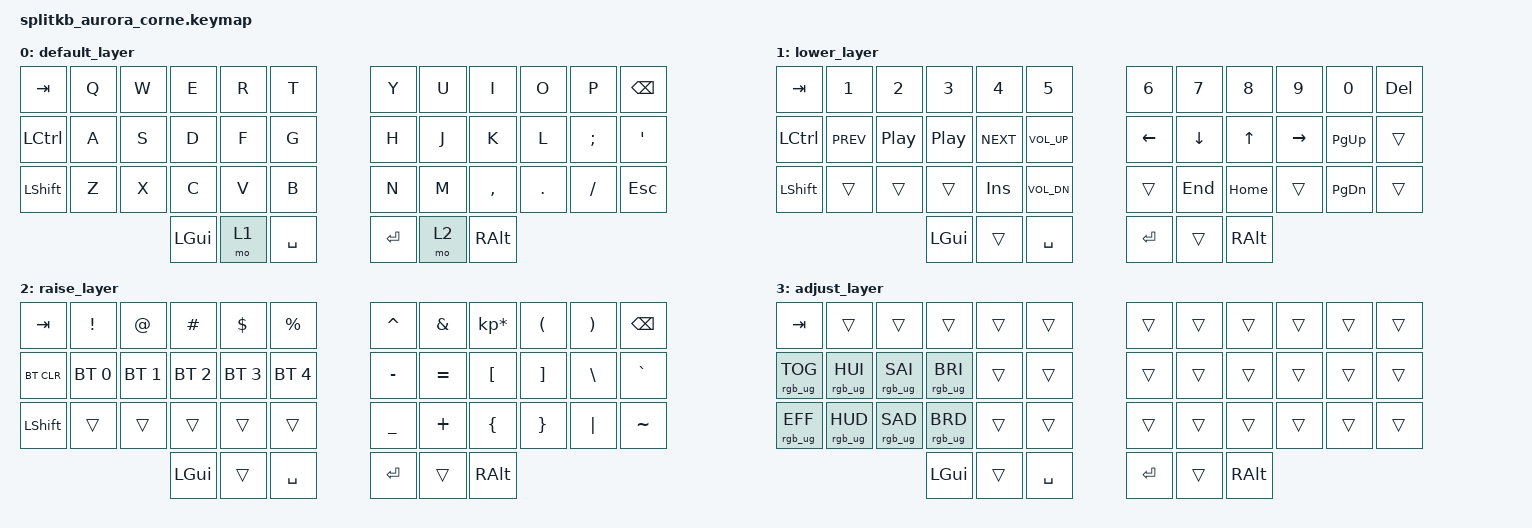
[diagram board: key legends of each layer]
#include <../boards/shields/splitkb_aurora_corne/boards/nice_nano_v2.overlay>
#include <dt-bindings/zmk/rgb.h>
/*
 * Copyright (c) 2020 The ZMK Contributors
 *
 * SPDX-License-Identifier: MIT
 */

#include <behaviors.dtsi>
#include <dt-bindings/zmk/keys.h>
#include <dt-bindings/zmk/bt.h>
#include <dt-bindings/zmk/ext_power.h>

&led_strip {
    chain-length = <21>;
};

&nice_view_spi {
    cs-gpios = <&pro_micro 0 GPIO_ACTIVE_HIGH>;
};

/{conditional_layers {
    compatible = "zmk,conditional-layers";
    tri_layer {
            if-layers = <1 2>;
            then-layer = <3>;
        };
    };
        keymap {
                compatible = "zmk,keymap";

                default_layer {
// -----------------------------------------------------------------------------------------
// |  TAB |  Q  |  W  |  E  |  R  |  T  |   |  Y  |  U   |  I  |  O  |  P  | BKSP |
// | CTRL |  A  |  S  |  D  |  F  |  G  |   |  H  |  J   |  K  |  L  |  ;  |  '   |
// | SHFT |  Z  |  X  |  C  |  V  |  B  |   |  N  |  M   |  ,  |  .  |  /  | ESC  |
//                    | GUI | LWR | SPC |   | ENT | RSE  | ALT |
                        bindings = <
   &kp TAB   &kp Q &kp W &kp E &kp R &kp T   &kp Y &kp U  &kp I     &kp O   &kp P    &kp BSPC
   &kp LCTRL &kp A &kp S &kp D &kp F &kp G   &kp H &kp J  &kp K     &kp L   &kp SEMI &kp SQT
   &kp LSHFT &kp Z &kp X &kp C &kp V &kp B   &kp N &kp M  &kp COMMA &kp DOT &kp FSLH &kp ESC
                  &kp LGUI &mo 1 &kp SPACE   &kp RET &mo 2 &kp RALT
                        >;
                };
                lower_layer {
// -----------------------------------------------------------------------------------------
// |  TAB |  1  |  2  |  3  |  4  |  5  |   |  6  |  7  |  8  |  9  |  0  | DEL |
// | CTRL | C_PREV | C_PP  | C_PP | C_NEXT | C_VOL_UP  | LFT | DWN |  UP | RGT |  PG_UP   |      |
// | SHFT |     |     |     |  INS  |   C_VOL_DN |   |     |     |     |     |  PG_DN   |      |
//                    | GUI |     | SPC |   | ENT |     | ALT |
                        bindings = <
   &kp TAB   &kp N1      &kp N2   &kp N3   &kp N4     &kp N5        &kp N6   &kp N7   &kp N8     &kp N9    &kp N0     &kp DEL
   &kp LCTRL &kp C_PREV  &kp C_PP &kp C_PP &kp C_NEXT &kp C_VOL_UP  &kp LEFT &kp DOWN &kp UP     &kp RIGHT &kp PG_UP  &trans
   &kp LSHFT &trans      &trans   &trans   &kp INS    &kp C_VOL_DN        &trans   &kp END  &kp HOME   &trans    &kp PG_DN  &trans
                          	        &kp LGUI     &trans       &kp SPACE      &kp RET  &trans   &kp RALT
                        >;
                };

                raise_layer {
// -----------------------------------------------------------------------------------------
// |  TAB |  !  |  @  |  #  |  $  |  %  |  |  ^  |  &  |  *  |  (  |  )  | BKSP |
// | BTCLR| BT1 | BT2 | BT3 | BT4 | BT5 |  |   |  -  |  =  |  [  |  ]  |  \  |  `   |
// | SHFT |     |     |     |     |     |  |  _  |  +  |  {  |  }  | "|" |  ~   |
//                    | GUI |     | SPC |  | ENT |     | ALT |
                        bindings = <
   &kp  TAB  &kp EXCL &kp AT &kp HASH &kp DLLR &kp PRCNT   &kp CARET &kp AMPS  &kp KP_MULTIPLY &kp LPAR &kp RPAR &kp BSPC
   &bt BT_CLR &bt BT_SEL 0 &bt BT_SEL 1 &bt BT_SEL 2 &bt BT_SEL 3 &bt BT_SEL 4       &kp MINUS &kp EQUAL &kp LBKT        &kp RBKT &kp BSLH &kp GRAVE
   &kp LSHFT &trans &trans &trans &trans &trans      &kp UNDER &kp PLUS  &kp LBRC        &kp RBRC &kp PIPE &kp TILDE
                    	     &kp LGUI &trans   &kp SPACE   &kp RET   &trans    &kp RALT
                        >;
                };

                adjust_layer {
// -----------------------------------------------------------------------------------------
// |  TAB |         |           |        |         |     |   |     |     |     |     |     |      |
// | RGB_TOG | RGB_HUI | RGB_SAI  | RGB_BRI |  |     |   |  -  |  =  |  [  |  ]  |  \  |  `   |
// | RGB_EFF | RGB_HUD | RGB_SAD  | RGB_BRD |  |     |   |  _  |  +  |  {  |  }  | "|" |  ~   |
//                    | GUI |     | SPC |  | ENT |     | ALT |
                        bindings = <
   &kp  TAB  &trans &trans &trans &trans &trans   &trans &trans  &trans &trans &trans &trans
   &rgb_ug RGB_TOG &rgb_ug RGB_HUI  &rgb_ug RGB_SAI &rgb_ug RGB_BRI &trans     &trans        &trans &trans &trans &trans &trans &trans
   &rgb_ug RGB_EFF &rgb_ug RGB_HUD  &rgb_ug RGB_SAD &rgb_ug RGB_BRD &trans     &trans      &trans &trans &trans  &trans &trans &trans
                    	     &kp LGUI &trans   &kp SPACE   &kp RET   &trans    &kp RALT
                        >;
                };
        };
};




